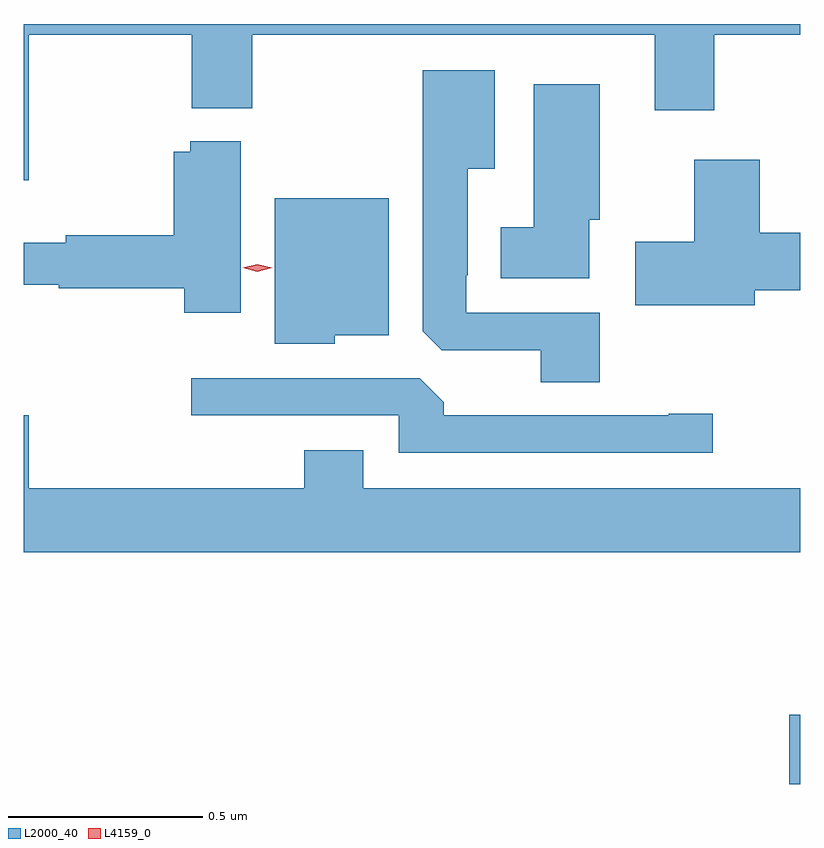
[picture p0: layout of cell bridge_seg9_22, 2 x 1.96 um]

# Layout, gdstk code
import gdstk
lib = gdstk.Library(unit=1e-6, precision=1e-09)
def R(c, l, rs):  # rectangles x0, y0, x1, y1
    for r in rs: c.add(gdstk.rectangle(r[:2], r[2:], *l))
def P(c, l, *ps):  # polygons
    for p in ps: c.add(gdstk.Polygon(p, *l))
L2000_40 = (2000, 40)
L4159_0 = (4159, 0)

bridge_seg9_22 = lib.new_cell('bridge_seg9_22')
R(bridge_seg9_22, L2000_40, [(1018.278,1170.515,1018.307,1170.693)])
P(bridge_seg9_22, L2000_40, [(1016.32,1172.444),(1016.74,1172.444),(1016.74,1172.255),(1016.895,1172.255),(1016.895,1172.444),(1017.932,1172.444),(1017.932,1172.25),(1018.085,1172.25),(1018.085,1172.444),(1018.307,1172.444),(1018.307,1172.472),(1016.307,1172.472),(1016.307,1172.07),(1016.32,1172.07)],
  [(1017.791,1171.728),(1017.447,1171.728),(1017.447,1171.825),(1017.451,1171.825),(1017.451,1172.099),(1017.52,1172.099),(1017.52,1172.353),(1017.335,1172.353),(1017.335,1171.681),(1017.384,1171.632),(1017.638,1171.632),(1017.638,1171.549),(1017.791,1171.549)],
  [(1017.763,1171.968),(1017.79,1171.968),(1017.79,1172.317),(1017.62,1172.317),(1017.62,1171.948),(1017.536,1171.948),(1017.536,1171.817),(1017.763,1171.817)],
  [(1016.866,1172.17),(1016.736,1172.17),(1016.736,1172.143),(1016.693,1172.143),(1016.693,1171.928),(1016.416,1171.928),(1016.416,1171.909),(1016.307,1171.909),(1016.307,1171.8),(1016.397,1171.8),(1016.397,1171.792),(1016.72,1171.792),(1016.72,1171.728),(1016.866,1171.728)],
  [(1018.189,1171.787),(1018.307,1171.787),(1018.307,1171.934),(1018.202,1171.934),(1018.202,1172.122),(1018.034,1172.122),(1018.034,1171.911),(1017.882,1171.911),(1017.882,1171.748),(1018.189,1171.748)],
  [(1017.108,1171.67),(1017.247,1171.67),(1017.247,1172.023),(1016.954,1172.023),(1016.954,1171.649),(1017.108,1171.649)],
  [(1018.081,1171.469),(1017.968,1171.469),(1017.968,1171.464),(1017.389,1171.464),(1017.389,1171.498),(1017.327,1171.56),(1016.739,1171.56),(1016.739,1171.464),(1017.273,1171.464),(1017.273,1171.368),(1018.081,1171.368)],
  [(1018.307,1171.276),(1017.181,1171.276),(1017.181,1171.375),(1017.029,1171.375),(1017.029,1171.276),(1016.32,1171.276),(1016.32,1171.465),(1016.307,1171.465),(1016.307,1171.112),(1018.307,1171.112)])
P(bridge_seg9_22, L4159_0, [(1016.909,1171.834),(1016.871,1171.844),(1016.871,1171.844),(1016.871,1171.844),(1016.909,1171.854),(1016.947,1171.844),(1016.947,1171.844),(1016.947,1171.844)])

lib.write_gds('bridge_seg9_22.gds')
